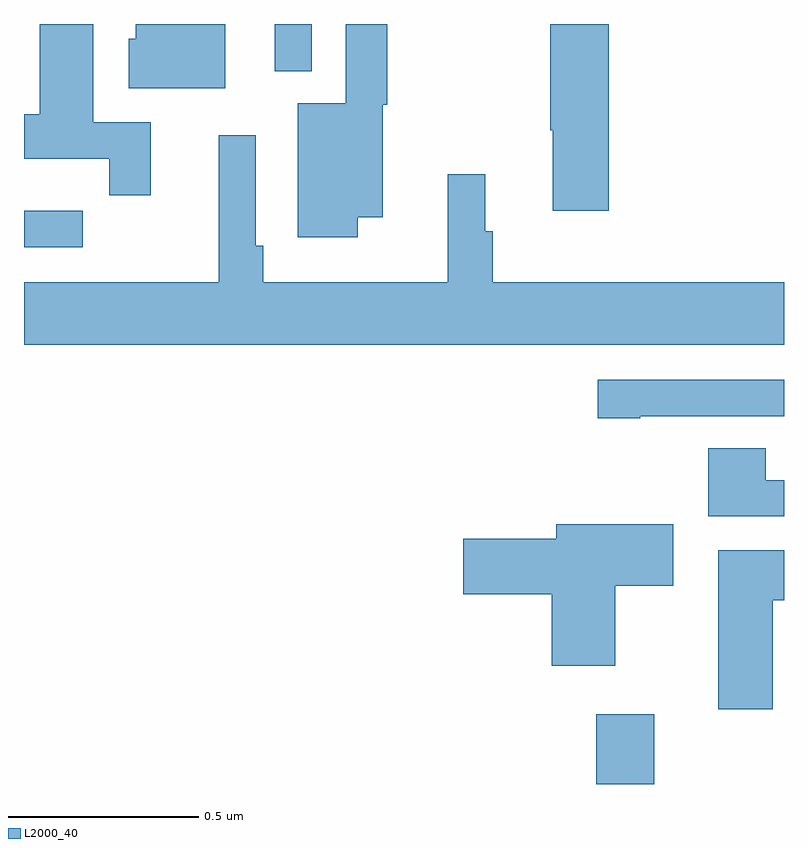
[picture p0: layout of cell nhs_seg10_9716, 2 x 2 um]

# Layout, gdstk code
import gdstk
lib = gdstk.Library(unit=1e-6, precision=1e-09)
def R(c, l, rs):  # rectangles x0, y0, x1, y1
    for r in rs: c.add(gdstk.rectangle(r[:2], r[2:], *l))
def P(c, l, *ps):  # polygons
    for p in ps: c.add(gdstk.Polygon(p, *l))
L2000_40 = (2000, 40)

nhs_seg10_9716 = lib.new_cell('nhs_seg10_9716')
R(nhs_seg10_9716, L2000_40, [(234.506,1292.5,234.658,1292.683), (233.66,1294.376,233.757,1294.5)])
P(nhs_seg10_9716, L2000_40, [(234.539,1294.5),(234.385,1294.5),(234.385,1294.22),(234.392,1294.22),(234.392,1294.008),(234.539,1294.008)],
  [(233.878,1293.992),(233.944,1293.992),(233.944,1294.287),(233.956,1294.287),(233.956,1294.5),(233.847,1294.5),(233.847,1294.291),(233.72,1294.291),(233.72,1293.939),(233.878,1293.939)],
  [(233.333,1294.242),(233.182,1294.242),(233.182,1294.5),(233.042,1294.5),(233.042,1294.263),(233,1294.263),(233,1294.146),(233.224,1294.146),(233.224,1294.05),(233.333,1294.05)],
  [(233.53,1294.5),(233.294,1294.5),(233.294,1294.461),(233.276,1294.461),(233.276,1294.331),(233.53,1294.331)],
  [(235,1293.82),(234.233,1293.82),(234.233,1293.954),(234.214,1293.954),(234.214,1294.105),(234.115,1294.105),(234.115,1293.82),(233.63,1293.82),(233.63,1293.916),(233.61,1293.916),(233.61,1294.207),(233.513,1294.207),(233.513,1293.82),(233,1293.82),(233,1293.656),(235,1293.656)],
  [(233.155,1294.008),(233.042,1294.008),(233.042,1294.009),(233,1294.009),(233,1293.912),(233.155,1293.912)],
  [(234.622,1293.468),(235,1293.468),(235,1293.564),(234.51,1293.564),(234.51,1293.463),(234.622,1293.463)],
  [(235,1293.3),(234.952,1293.3),(234.952,1293.383),(234.8,1293.383),(234.8,1293.204),(235,1293.204)],
  [(234.556,1293.022),(234.709,1293.022),(234.709,1293.184),(234.401,1293.184),(234.401,1293.146),(234.156,1293.146),(234.156,1292.999),(234.389,1292.999),(234.389,1292.811),(234.556,1292.811)],
  [(234.97,1292.984),(235,1292.984),(235,1293.115),(234.827,1293.115),(234.827,1292.697),(234.97,1292.697)])

lib.write_gds('nhs_seg10_9716.gds')
